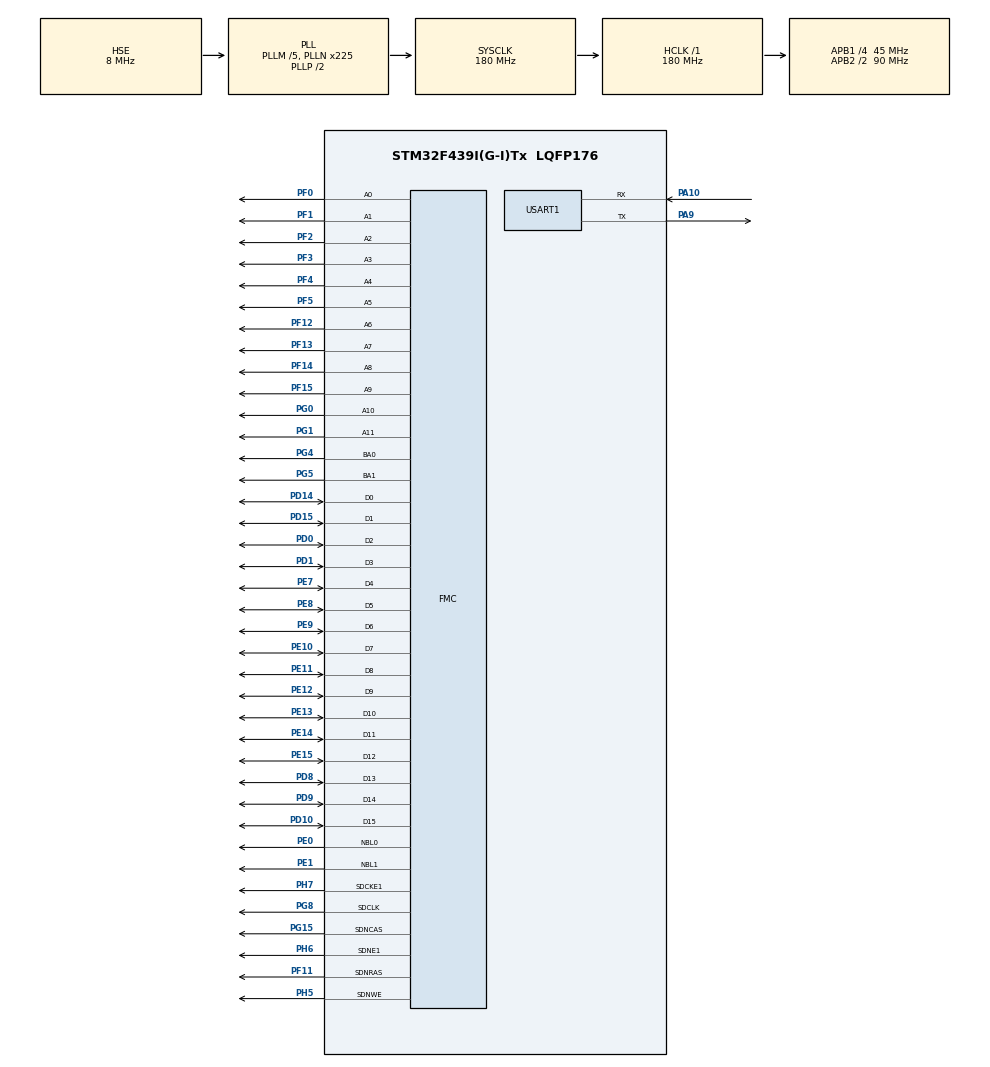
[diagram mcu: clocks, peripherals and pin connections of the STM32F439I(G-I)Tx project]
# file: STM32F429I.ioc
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Dma.MEMTOMEM.0.Channel=DMA_CHANNEL_0
Dma.MEMTOMEM.0.Direction=DMA_MEMORY_TO_MEMORY
Dma.MEMTOMEM.0.FIFOMode=DMA_FIFOMODE_ENABLE
Dma.MEMTOMEM.0.FIFOThreshold=DMA_FIFO_THRESHOLD_FULL
Dma.MEMTOMEM.0.Instance=DMA2_Stream0
Dma.MEMTOMEM.0.MemBurst=DMA_MBURST_SINGLE
Dma.MEMTOMEM.0.MemDataAlignment=DMA_MDATAALIGN_WORD
Dma.MEMTOMEM.0.MemInc=DMA_MINC_ENABLE
Dma.MEMTOMEM.0.Mode=DMA_NORMAL
Dma.MEMTOMEM.0.PeriphBurst=DMA_PBURST_SINGLE
Dma.MEMTOMEM.0.PeriphDataAlignment=DMA_PDATAALIGN_WORD
Dma.MEMTOMEM.0.PeriphInc=DMA_PINC_ENABLE
Dma.MEMTOMEM.0.Priority=DMA_PRIORITY_LOW
Dma.Request0=MEMTOMEM
FMC.CASLatency1=FMC_SDRAM_CAS_LATENCY_3
FMC.ExitSelfRefreshDelay1=6
FMC.LoadToActiveDelay1=2
FMC.RCDDelay1=2
FMC.RPDelay1=2
FMC.RPDelay2=2
FMC.RowBitsNumber1=FMC_SDRAM_ROW_BITS_NUM_12
FMC.RowCycleDelay1=6
FMC.RowCycleDelay2=6
FMC.SDClockPeriod1=FMC_SDRAM_CLOCK_PERIOD_2
FMC.SDClockPeriod2=FMC_SDRAM_CLOCK_PERIOD_2
FMC.SelfRefreshTime1=4
FMC.WriteRecoveryTime1=2
Mcu.Family=STM32F4
Mcu.Name=STM32F439I(G-I)Tx
Mcu.Package=LQFP176
NVIC.FMC_IRQn=true\:5\:0\:true
NVIC.PriorityGroup=NVIC_PRIORITYGROUP_4
PA10.Mode=Asynchronous
PA10.Signal=USART1_RX
PA9.Mode=Asynchronous
PA9.Signal=USART1_TX
PD0.Signal=FMC_D2_DA2
PD1.Signal=FMC_D3_DA3
PD10.Signal=FMC_D15_DA15
PD14.Signal=FMC_D0_DA0
PD15.Signal=FMC_D1_DA1
PD8.Signal=FMC_D13_DA13
PD9.Signal=FMC_D14_DA14
PE0.Signal=FMC_NBL0
PE1.Signal=FMC_NBL1
PE10.Signal=FMC_D7_DA7
PE11.Signal=FMC_D8_DA8
PE12.Signal=FMC_D9_DA9
PE13.Signal=FMC_D10_DA10
PE14.Signal=FMC_D11_DA11
PE15.Signal=FMC_D12_DA12
PE7.Signal=FMC_D4_DA4
PE8.Signal=FMC_D5_DA5
PE9.Signal=FMC_D6_DA6
PF0.Signal=FMC_A0
PF1.Signal=FMC_A1
PF11.Signal=FMC_SDNRAS
PF12.Signal=FMC_A6
PF13.Signal=FMC_A7
PF14.Signal=FMC_A8
PF15.Signal=FMC_A9
PF2.Signal=FMC_A2
PF3.Signal=FMC_A3
PF4.Signal=FMC_A4
PF5.Signal=FMC_A5
PG0.Signal=FMC_A10
PG1.Signal=FMC_A11
PG15.Signal=FMC_SDNCAS
PG4.Signal=FMC_A14_BA0
PG5.Signal=FMC_A15_BA1
PG8.Signal=FMC_SDCLK
PH0/OSC_IN.Mode=HSE-External-Oscillator
PH0/OSC_IN.Signal=RCC_OSC_IN
PH1/OSC_OUT.Mode=HSE-External-Oscillator
PH1/OSC_OUT.Signal=RCC_OSC_OUT
PH5.Signal=FMC_SDNWE
PH6.Mode=SdramChipSelect2_1
PH6.Signal=FMC_SDNE1
PH7.Mode=SdramChipSelect2_1
PH7.Signal=FMC_SDCKE1
ProjectManager.TargetToolchain=MDK-ARM V5
RCC.48MHZClocksFreq_Value=90000000
RCC.AHBFreq_Value=180000000
RCC.APB1CLKDivider=RCC_HCLK_DIV4
RCC.APB1Freq_Value=45000000
RCC.APB1TimFreq_Value=90000000
RCC.APB2CLKDivider=RCC_HCLK_DIV2
RCC.APB2Freq_Value=90000000
RCC.APB2TimFreq_Value=180000000
RCC.CortexFreq_Value=180000000
RCC.HCLKFreq_Value=180000000
RCC.HSE_VALUE=8000000
RCC.HSI_VALUE=16000000
RCC.LSE_VALUE=32768
RCC.PLLM=5
RCC.PLLN=225
RCC.PLLSourceVirtual=RCC_PLLSOURCE_HSE
RCC.SYSCLKFreq_VALUE=180000000
RCC.SYSCLKSource=RCC_SYSCLKSOURCE_PLLCLK
RCC.VCOOutputFreq_Value=360000000
SH.FMC_A0.0=FMC_A0,12b-sda1
SH.FMC_A1.0=FMC_A1,12b-sda1
SH.FMC_A10.0=FMC_A10,12b-sda1
SH.FMC_A11.0=FMC_A11,12b-sda1
SH.FMC_A14_BA0.0=FMC_BA0,FourSdramBanks1
SH.FMC_A15_BA1.0=FMC_BA1,FourSdramBanks1
SH.FMC_A2.0=FMC_A2,12b-sda1
SH.FMC_A3.0=FMC_A3,12b-sda1
SH.FMC_A4.0=FMC_A4,12b-sda1
SH.FMC_A5.0=FMC_A5,12b-sda1
SH.FMC_A6.0=FMC_A6,12b-sda1
SH.FMC_A7.0=FMC_A7,12b-sda1
SH.FMC_A8.0=FMC_A8,12b-sda1
SH.FMC_A9.0=FMC_A9,12b-sda1
SH.FMC_D0_DA0.0=FMC_D0,sd-16b-d1
SH.FMC_D10_DA10.0=FMC_D10,sd-16b-d1
SH.FMC_D11_DA11.0=FMC_D11,sd-16b-d1
SH.FMC_D12_DA12.0=FMC_D12,sd-16b-d1
SH.FMC_D13_DA13.0=FMC_D13,sd-16b-d1
SH.FMC_D14_DA14.0=FMC_D14,sd-16b-d1
SH.FMC_D15_DA15.0=FMC_D15,sd-16b-d1
SH.FMC_D1_DA1.0=FMC_D1,sd-16b-d1
SH.FMC_D2_DA2.0=FMC_D2,sd-16b-d1
SH.FMC_D3_DA3.0=FMC_D3,sd-16b-d1
SH.FMC_D4_DA4.0=FMC_D4,sd-16b-d1
SH.FMC_D5_DA5.0=FMC_D5,sd-16b-d1
SH.FMC_D6_DA6.0=FMC_D6,sd-16b-d1
SH.FMC_D7_DA7.0=FMC_D7,sd-16b-d1
SH.FMC_D8_DA8.0=FMC_D8,sd-16b-d1
SH.FMC_D9_DA9.0=FMC_D9,sd-16b-d1
SH.FMC_NBL0.0=FMC_NBL0,Sd2ByteEnable1
SH.FMC_NBL1.0=FMC_NBL1,Sd2ByteEnable1
SH.FMC_SDCLK.0=FMC_SDCLK,12b-sda1
SH.FMC_SDNCAS.0=FMC_SDNCAS,12b-sda1
SH.FMC_SDNRAS.0=FMC_SDNRAS,12b-sda1
SH.FMC_SDNWE.0=FMC_SDNWE,12b-sda1
board=STM32F429I

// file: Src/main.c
/**
  ******************************************************************************
  * File Name          : main.c
  * Description        : Main program body
  ******************************************************************************
  *
  * COPYRIGHT(c) 2015 STMicroelectronics
  *
  * Redistribution and use in source and binary forms, with or without modification,
  * are permitted provided that the following conditions are met:
  *   1. Redistributions of source code must retain the above copyright notice,
  *      this list of conditions and the following disclaimer.
  *   2. Redistributions in binary form must reproduce the above copyright notice,
  *      this list of conditions and the following disclaimer in the documentation
  *      and/or other materials provided with the distribution.
  *   3. Neither the name of STMicroelectronics nor the names of its contributors
  *      may be used to endorse or promote products derived from this software
  *      without specific prior written permission.
  *
  * THIS SOFTWARE IS PROVIDED BY THE COPYRIGHT HOLDERS AND CONTRIBUTORS "AS IS"
  * AND ANY EXPRESS OR IMPLIED WARRANTIES, INCLUDING, BUT NOT LIMITED TO, THE
  * IMPLIED WARRANTIES OF MERCHANTABILITY AND FITNESS FOR A PARTICULAR PURPOSE ARE
  * DISCLAIMED. IN NO EVENT SHALL THE COPYRIGHT HOLDER OR CONTRIBUTORS BE LIABLE
  * FOR ANY DIRECT, INDIRECT, INCIDENTAL, SPECIAL, EXEMPLARY, OR CONSEQUENTIAL
  * DAMAGES (INCLUDING, BUT NOT LIMITED TO, PROCUREMENT OF SUBSTITUTE GOODS OR
  * SERVICES; LOSS OF USE, DATA, OR PROFITS; OR BUSINESS INTERRUPTION) HOWEVER
  * CAUSED AND ON ANY THEORY OF LIABILITY, WHETHER IN CONTRACT, STRICT LIABILITY,
  * OR TORT (INCLUDING NEGLIGENCE OR OTHERWISE) ARISING IN ANY WAY OUT OF THE USE
  * OF THIS SOFTWARE, EVEN IF ADVISED OF THE POSSIBILITY OF SUCH DAMAGE.
  *
  ******************************************************************************
  */
#include "stm32f4xx_hal.h"
#include "dma.h"
#include "usart.h"
#include "gpio.h"
#include "fmc.h"

/* USER CODE BEGIN Includes */
#include "../BSP/stm324x9i_sdram.h"
/* USER CODE END Includes */

/* USER CODE BEGIN PV */
/* Private variables ---------------------------------------------------------*/
#define WRITE_READ_ADDR     ((uint32_t)0x0800)
#define BUFFER_SIZE         ((uint32_t)0x0100)
#define WRITE_READ_ADDR     ((uint32_t)0x0800)
uint32_t aTxBuffer[BUFFER_SIZE];
uint32_t aRxBuffer[BUFFER_SIZE];
__IO uint32_t uwWriteReadStatus = 0;
int i;
/* USER CODE END PV */

void SystemClock_Config(void);

/* USER CODE BEGIN PFP */
/* Private function prototypes -----------------------------------------------*/

/* USER CODE END PFP */

int main(void)
{

  /* MCU Configuration----------------------------------------------------------*/

  /* Reset of all peripherals, Initializes the Flash interface and the Systick. */
  HAL_Init();

  /* Configure the system clock */
  SystemClock_Config();

  /* Initialize all configured peripherals */
  MX_GPIO_Init();
  MX_DMA_Init();
  MX_FMC_Init();
  MX_USART1_UART_Init();

  /* USER CODE BEGIN 2 */
	printf("\r\n ****** SDRAM example !!! ******\r\n");

  /*##-1- Configure the SDRAM device #########################################*/
  /* Program the SDRAM external device */
  BSP_SDRAM_Init();

  /*##-2- SDRAM memory read/write access #####################################*/

  /* Fill the buffer to write */
	for(i=0; i<BUFFER_SIZE; i++)
		aTxBuffer[i]=0xA244250F+i;	 /* TxBuffer init */

	/* Fill the buffer to write */
	for(i=0; i<BUFFER_SIZE; i++)
		aRxBuffer[i]=0;	            /* RxBuffer init */

  /* Write data to the SDRAM memory */
	BSP_SDRAM_WriteData(SDRAM_DEVICE_ADDR+WRITE_READ_ADDR,aTxBuffer, BUFFER_SIZE);
	printf("\r\n/* Write data to the SDRAM memory */\r\n\r\n");
	for(i=0;i< BUFFER_SIZE;i++)
	{
		printf("%02X:0x%08X ",i,aTxBuffer[i]);
	}
	printf("\r\n");

  /* Read back data from the SDRAM memory */
	BSP_SDRAM_ReadData(SDRAM_DEVICE_ADDR+WRITE_READ_ADDR, aRxBuffer, BUFFER_SIZE);
	printf("\r\n/* Read back data from the SDRAM memory */\r\n\r\n");
	for(i=0;i< BUFFER_SIZE;i++)
	{
		printf("%02X:0x%08X ",i,aRxBuffer[i]);
	}
	printf("\r\n");

  /*##-3- Checking data integrity ############################################*/
  for (i = 0; (i < BUFFER_SIZE); i++)
  {
    if (aRxBuffer[i] != aTxBuffer[i])
      uwWriteReadStatus++;
  }
  if(uwWriteReadStatus == 0 ) /* check date */
		printf("\r\n SDRAM Test OK\r\n");
	else
		printf("\r\n SDRAM Test False\r\n");

  /* Infinite loop */

  /* USER CODE END 2 */

  /* Infinite loop */
  while (1)
  {

  }

}

/** System Clock Configuration
*/
void SystemClock_Config(void)
{

  RCC_OscInitTypeDef RCC_OscInitStruct;
  RCC_ClkInitTypeDef RCC_ClkInitStruct;

  __PWR_CLK_ENABLE();

  __HAL_PWR_VOLTAGESCALING_CONFIG(PWR_REGULATOR_VOLTAGE_SCALE1);

  RCC_OscInitStruct.OscillatorType = RCC_OSCILLATORTYPE_HSE;
  RCC_OscInitStruct.HSEState = RCC_HSE_ON;
  RCC_OscInitStruct.PLL.PLLState = RCC_PLL_ON;
  RCC_OscInitStruct.PLL.PLLSource = RCC_PLLSOURCE_HSE;
  RCC_OscInitStruct.PLL.PLLM = 5;
  RCC_OscInitStruct.PLL.PLLN = 225;
  RCC_OscInitStruct.PLL.PLLP = RCC_PLLP_DIV2;
  RCC_OscInitStruct.PLL.PLLQ = 4;
  HAL_RCC_OscConfig(&RCC_OscInitStruct);

  HAL_PWREx_ActivateOverDrive();

  RCC_ClkInitStruct.ClockType = RCC_CLOCKTYPE_SYSCLK|RCC_CLOCKTYPE_PCLK1
                              |RCC_CLOCKTYPE_PCLK2;
  RCC_ClkInitStruct.SYSCLKSource = RCC_SYSCLKSOURCE_PLLCLK;
  RCC_ClkInitStruct.AHBCLKDivider = RCC_SYSCLK_DIV1;
  RCC_ClkInitStruct.APB1CLKDivider = RCC_HCLK_DIV4;
  RCC_ClkInitStruct.APB2CLKDivider = RCC_HCLK_DIV2;
  HAL_RCC_ClockConfig(&RCC_ClkInitStruct, FLASH_LATENCY_5);

  HAL_SYSTICK_Config(HAL_RCC_GetHCLKFreq()/1000);

  HAL_SYSTICK_CLKSourceConfig(SYSTICK_CLKSOURCE_HCLK);

  /* SysTick_IRQn interrupt configuration */
  HAL_NVIC_SetPriority(SysTick_IRQn, 0, 0);
}

/************************ (C) COPYRIGHT STMicroelectronics *****END OF FILE****/
